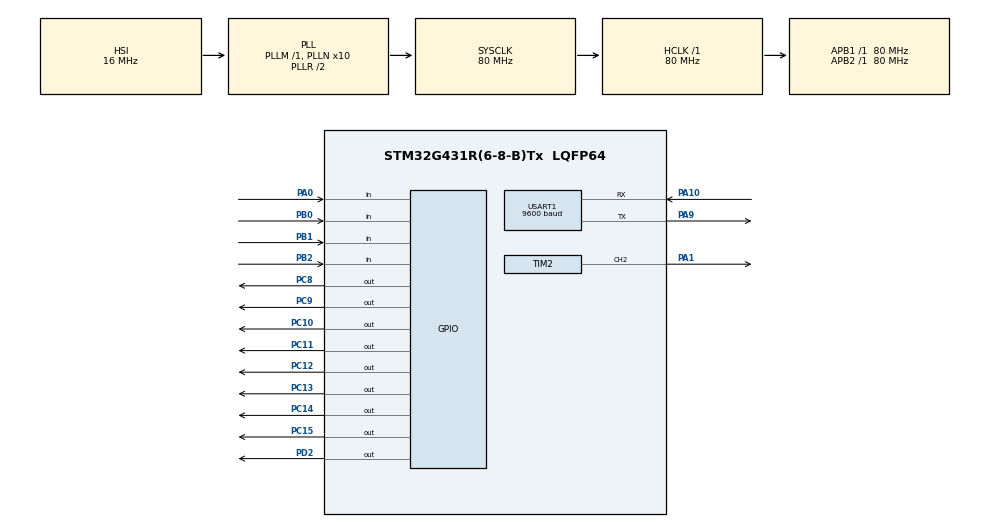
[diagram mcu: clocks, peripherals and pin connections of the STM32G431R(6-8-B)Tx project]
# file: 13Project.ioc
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Mcu.Family=STM32G4
Mcu.Name=STM32G431R(6-8-B)Tx
Mcu.Package=LQFP64
NVIC.PriorityGroup=NVIC_PRIORITYGROUP_2
NVIC.TIM4_IRQn=true\:0\:0\:false\:false\:true\:true\:true
NVIC.USART1_IRQn=true\:0\:0\:true\:false\:true\:true\:true
PA0.Signal=GPIO_Input
PA1.Signal=S_TIM2_CH2
PA10.Mode=Asynchronous
PA10.Signal=USART1_RX
PA13.Mode=Serial_Wire
PA13.Signal=SYS_JTMS-SWDIO
PA14.Mode=Serial_Wire
PA14.Signal=SYS_JTCK-SWCLK
PA9.Mode=Asynchronous
PA9.Signal=USART1_TX
PB0.Signal=GPIO_Input
PB1.Signal=GPIO_Input
PB2.Signal=GPIO_Input
PC10.Signal=GPIO_Output
PC11.Signal=GPIO_Output
PC12.Signal=GPIO_Output
PC13.Signal=GPIO_Output
PC14-OSC32_IN.Signal=GPIO_Output
PC15-OSC32_OUT.Signal=GPIO_Output
PC8.Signal=GPIO_Output
PC9.Signal=GPIO_Output
PD2.Signal=GPIO_Output
PF0-OSC_IN.Mode=HSE-External-Oscillator
PF0-OSC_IN.Signal=RCC_OSC_IN
PF1-OSC_OUT.Mode=HSE-External-Oscillator
PF1-OSC_OUT.Signal=RCC_OSC_OUT
ProjectManager.HeapSize=0x200
ProjectManager.StackSize=0x400
ProjectManager.TargetToolchain=MDK-ARM V5.32
RCC.ADC12Freq_Value=80000000
RCC.AHBFreq_Value=80000000
RCC.APB1Freq_Value=80000000
RCC.APB1TimFreq_Value=80000000
RCC.APB2Freq_Value=80000000
RCC.APB2TimFreq_Value=80000000
RCC.CortexFreq_Value=80000000
RCC.EXTERNAL_CLOCK_VALUE=12288000
RCC.HCLKFreq_Value=80000000
RCC.HSE_VALUE=24000000
RCC.HSI48_VALUE=48000000
RCC.HSI_VALUE=16000000
RCC.LSE_VALUE=32768
RCC.PLLN=10
RCC.SYSCLKFreq_VALUE=80000000
RCC.SYSCLKSource=RCC_SYSCLKSOURCE_PLLCLK
RCC.USBFreq_Value=80000000
RCC.VCOOutputFreq_Value=160000000
SH.S_TIM2_CH2.0=TIM2_CH2,PWM Generation2 CH2
TIM2.AutoReloadPreload=TIM_AUTORELOAD_PRELOAD_ENABLE
TIM2.Channel-PWM\ Generation2\ CH2=TIM_CHANNEL_2
TIM2.PeriodNoDither=499
TIM2.Prescaler=79
TIM2.PulseNoDither_2=25
TIM4.PeriodNoDither=10000
TIM4.Prescaler=79
USART1.BaudRate=9600
USART1.VirtualMode-Asynchronous=VM_ASYNC
VP_SYS_VS_DBSignals.Mode=DisableDeadBatterySignals
VP_TIM2_VS_ClockSourceINT.Mode=Internal
VP_TIM4_VS_ClockSourceINT.Mode=Internal
board=custom

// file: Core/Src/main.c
/* USER CODE BEGIN Header */
/**
  ******************************************************************************
  * @file           : main.c
  * @brief          : Main program body
  ******************************************************************************
  * @attention
  *
  * <h2><center>&copy; Copyright (c) 2023 STMicroelectronics.
  * All rights reserved.</center></h2>
  *
  * This software component is licensed by ST under BSD 3-Clause license,
  * the "License"; You may not use this file except in compliance with the
  * License. You may obtain a copy of the License at:
  *                        opensource.org/licenses/BSD-3-Clause
  *
  ******************************************************************************
  */
/* USER CODE END Header */
#include "main.h"
#include "tim.h"
#include "usart.h"
#include "gpio.h"

/* USER CODE BEGIN Includes */
#include "lcd.h"
#include "i2c_hal.h"
#include "stdio.h"
#include "string.h"

/* USER CODE END Includes */

/* USER CODE BEGIN PD */
#define KEY1 HAL_GPIO_ReadPin(GPIOB,GPIO_PIN_0)
#define KEY2 HAL_GPIO_ReadPin(GPIOB,GPIO_PIN_1)
#define KEY3 HAL_GPIO_ReadPin(GPIOB,GPIO_PIN_2)
#define KEY4 HAL_GPIO_ReadPin(GPIOA,GPIO_PIN_0)

/* USER CODE END PD */

/* USER CODE BEGIN PV */
//key
u8 key_val,key_down,key_up,key_old;

//lcd
u8 sta_lcd = 0;
u8 ptr[30];
u32 ee_xrep,ee_yrep,ee_xprice,ee_yprice;
//led
u8 led_in;
u8 led4, tt;
u8 x[3]={0,10,10};//定义商品X数组 并分别对应初始化为购买数量、10倍单价、库存数量
u8 y[3]={0,10,10};//定义商品Y数组 并分别对应初始化为购买数量、10倍单价、库存数量
u8 rx_data[20];
unsigned char tx[21],rx,rx_buf[7],dex, tx1[21], tx2[21];//串口相关变量
u8 cnt1 = 0, cnt3 = 0, time_ctl, kc = 0;
u16 cnt2 = 0;
u8 start1,start2, start3 = 0;

/* USER CODE END PV */

void SystemClock_Config(void);

/* USER CODE BEGIN 0 */
u8 key_scan()
{
	if((KEY1 == 0)||(KEY2 == 0)||(KEY3 == 0)||(KEY4 == 0))
	{
		HAL_Delay(10);
		if(KEY1 == 0) return 1;
		else if(KEY2 == 0) return 2;
		else if(KEY3 == 0) return 3;
		else if(KEY4 == 0) return 4;
	}return 0;
}

//从24C02中读取数据
uint8_t x24c02_read(uint8_t address)
{
	unsigned char val;

	I2CStart();
	I2CSendByte(0xa0);
	I2CWaitAck();

	I2CSendByte(address);
	I2CWaitAck();

	I2CStart();
	I2CSendByte(0xa1);
	I2CWaitAck();
	val = I2CReceiveByte();
	I2CWaitAck();
	I2CStop();

	return(val);
}

void x24c02_write(unsigned char address,unsigned char info)
{

	I2CStart();
	I2CSendByte(0xa0);
	I2CWaitAck();

	I2CSendByte(address);
	I2CWaitAck();
	I2CSendByte(info);
	I2CWaitAck();
	I2CStop();
	HAL_Delay(5);
}

void led_dis(u8 led)
{
	HAL_GPIO_WritePin(GPIOC,0xff00,GPIO_PIN_SET);
	HAL_GPIO_WritePin(GPIOD,GPIO_PIN_2,GPIO_PIN_SET);
	HAL_GPIO_WritePin(GPIOD,GPIO_PIN_2,GPIO_PIN_RESET);

	HAL_GPIO_WritePin(GPIOC,led<<8,GPIO_PIN_RESET);
	HAL_GPIO_WritePin(GPIOD,GPIO_PIN_2,GPIO_PIN_SET);
	HAL_GPIO_WritePin(GPIOD,GPIO_PIN_2,GPIO_PIN_RESET);
}

void key_Proc()
{
	key_val = key_scan();
	key_down = key_val&(key_val^key_old);
	key_up = ~key_val&(key_val^key_old);
	key_old = key_val;

	switch (key_up)
  {
  	case 1:
		{
			if(++ sta_lcd> 2)
				sta_lcd = 0;
			LCD_Clear(Black);
  		break;
		}
		case 2:
		{
			if(sta_lcd == 0)
			{
				if(++ x[0] > x[2])
					x[0] = 0;
			}else if(sta_lcd == 1)
			{
				if(++x[1]>20)
					x[1]=10;
				x24c02_write(0x01,x[1]);
			}else if(sta_lcd == 2)
			{
				x[2]++;
				x24c02_write(0x02,x[2]);
			}
  		break;
		}
		case 3:
		{
			if(sta_lcd == 0)
			{
				if(++ y[0] > y[2])
					y[0] = 0;
			}else if(sta_lcd == 1)
			{
				if(++y[1]>20)
					y[1]=10;
					x24c02_write(0x03,y[1]);

			}else if(sta_lcd == 2)
			{
					y[2]++;
					x24c02_write(0x04,y[2]);
			}
  		break;
		}
		case 4:
		{
			x[2]=x[2]-x[0];
			y[2]=y[2]-y[0];

			led4 = 1;
			time_ctl = 0;

			sprintf((char*)tx1,"X:%d,Y:%d,Z:%0.1f\n",x[0],y[0],0.1*x[0]*x[1]+0.1*y[0]*y[1]);
			HAL_UART_Transmit(&huart1,tx1,sizeof(tx1),50);

			if(x[0] != 0)
			{
				x24c02_write(0x02,x[2]);
			}
			if(y[0] != 0)
			{
				x24c02_write(0x04,y[2]);
			}

			x[0]=y[0]=0;
  		break;
		}
  }
}

void lcd_Proc()
{

	if(sta_lcd == 0)
	{
		sprintf((char*)ptr,"        SHOP");
		LCD_DisplayStringLine(Line2,(u8*)ptr);
		sprintf((char*)ptr,"     X:%d   ",x[0]);
		LCD_DisplayStringLine(Line4,ptr);
		sprintf((char*)ptr,"     Y:%d   ",y[0]);
		LCD_DisplayStringLine(Line5,ptr);

	}else if(sta_lcd == 1){
		sprintf((char*)ptr,"        PRICE");
		LCD_DisplayStringLine(Line2,(u8*)ptr);
		sprintf((char*)ptr,"     X:%.1f   ",0.1*x[1]);
		LCD_DisplayStringLine(Line4,ptr);
		sprintf((char*)ptr,"     Y:%.1f   ",0.1*y[1]);
		LCD_DisplayStringLine(Line5,ptr);

	}else if(sta_lcd == 2){
		sprintf((char*)ptr,"        REP");
		LCD_DisplayStringLine(Line2,(u8*)ptr);
		sprintf((char*)ptr,"     X:%d   ",x[2]);
		LCD_DisplayStringLine(Line4,ptr);
		sprintf((char*)ptr,"     Y:%d   ",y[2]);
		LCD_DisplayStringLine(Line5,ptr);

	}
}

void led_Proc()
{

	if((led4 == 1) && (sta_lcd == 0))
	{
		if(time_ctl == 0)
		{
			led_in |= 0x01; //点亮led1
				__HAL_TIM_SetCompare(&htim2,TIM_CHANNEL_2,150); //修改占空比为30% 本来为5%
		}else
		{
			led_in &= ~(0x01);
				__HAL_TIM_SetCompare(&htim2,TIM_CHANNEL_2,25); //修改占空比为30% 本来为5%
		}
	}

	if((x[2] == 0) && (y[2] == 0))
	{
		tt = 1;
		if(cnt3 == 0)
			led_in |= 0x02;
		else
			led_in &= ~(0x02);
	}else
	{
		led_in &= ~(0x02);
	}

	led_dis(led_in);
}

void HAL_TIM_PeriodElapsedCallback(TIM_HandleTypeDef *htim)
{
	if(htim == &htim4)
	{

		if(tt == 1)
		{
			cnt1 ++;
			if(cnt1 == 10)
			{
				cnt3 = ~cnt3;
				cnt1 = 0;
			}
		}
		if(time_ctl == 0)
		{
			cnt2 ++;
			if(cnt2 == 500)
			{
				cnt2 = 0;
				time_ctl = 1;
			}
		}
	}
}

void HAL_UART_RxCpltCallback(UART_HandleTypeDef *huart)
{
	if(huart == &huart1)
	{
			if(rx_data[0]=='?')
			{
				sprintf((char*)tx,"X:%3.1f,Y:%3.1f\n",0.1*x[1],0.1*y[1]);
				HAL_UART_Transmit(&huart1,tx,sizeof(tx),50);
			}
			else
			{
				sprintf((char*)tx2,"Query format error\n");
				HAL_UART_Transmit(&huart1,tx2,sizeof(tx2),50);
			}
	}
	HAL_UART_Receive_IT(&huart1,rx_data,1);
}

/* USER CODE END 0 */

int main(void)
{

  /* MCU Configuration--------------------------------------------------------*/

  /* Reset of all peripherals, Initializes the Flash interface and the Systick. */
  HAL_Init();

  /* Configure the system clock */
  SystemClock_Config();

  /* Initialize all configured peripherals */
  MX_GPIO_Init();
  MX_TIM2_Init();
  MX_USART1_UART_Init();
  MX_TIM4_Init();
  /* USER CODE BEGIN 2 */
	I2CInit();
	LCD_Init();
	LCD_Clear(Black);
	led_dis(0);
	LCD_SetBackColor(Black);
	LCD_SetTextColor(White);
	HAL_TIM_Base_Start_IT(&htim4);
	HAL_UART_Receive_IT(&huart1,rx_data,1);
	HAL_TIM_PWM_Start_IT(&htim2, TIM_CHANNEL_2);

	/*x24c02_write(0x01,0x00);
	x24c02_write(0x02,0x00);
	x24c02_write(0x03,0x00);
	x24c02_write(0x04,0x00);
	x24c02_write(0x05,0x00);
	x24c02_write(0x06,0x00);
	x24c02_write(0x07,0x00);*/

	start1 = x24c02_read(0x00);
	x24c02_write(0x00, 0x28);

	if(start1 == 0x28)
	{
		x[1] = x24c02_read(0x01);
		x[2] = x24c02_read(0x02);
		y[1] = x24c02_read(0x03);
		y[2] = x24c02_read(0x04);
	}else
	{
		x24c02_write(0x01,(x[1]));
		x24c02_write(0x02,(x[2]));
		x24c02_write(0x03,(y[1]));
		x24c02_write(0x04,(y[2]));
	}

  /* USER CODE END 2 */

  /* Infinite loop */
  while (1)
  {

    /* USER CODE BEGIN 3 */

		key_Proc();
		lcd_Proc();
		led_Proc();
  }
  /* USER CODE END 3 */
}

void SystemClock_Config(void)
{
  RCC_OscInitTypeDef RCC_OscInitStruct = {0};
  RCC_ClkInitTypeDef RCC_ClkInitStruct = {0};
  RCC_PeriphCLKInitTypeDef PeriphClkInit = {0};

  /** Configure the main internal regulator output voltage
  */
  HAL_PWREx_ControlVoltageScaling(PWR_REGULATOR_VOLTAGE_SCALE1);
  /** Initializes the RCC Oscillators according to the specified parameters
  * in the RCC_OscInitTypeDef structure.
  */
  RCC_OscInitStruct.OscillatorType = RCC_OSCILLATORTYPE_HSI;
  RCC_OscInitStruct.HSIState = RCC_HSI_ON;
  RCC_OscInitStruct.HSICalibrationValue = RCC_HSICALIBRATION_DEFAULT;
  RCC_OscInitStruct.PLL.PLLState = RCC_PLL_ON;
  RCC_OscInitStruct.PLL.PLLSource = RCC_PLLSOURCE_HSI;
  RCC_OscInitStruct.PLL.PLLM = RCC_PLLM_DIV1;
  RCC_OscInitStruct.PLL.PLLN = 10;
  RCC_OscInitStruct.PLL.PLLP = RCC_PLLP_DIV2;
  RCC_OscInitStruct.PLL.PLLQ = RCC_PLLQ_DIV2;
  RCC_OscInitStruct.PLL.PLLR = RCC_PLLR_DIV2;
  if (HAL_RCC_OscConfig(&RCC_OscInitStruct) != HAL_OK)
  {
    Error_Handler();
  }
  /** Initializes the CPU, AHB and APB buses clocks
  */
  RCC_ClkInitStruct.ClockType = RCC_CLOCKTYPE_HCLK|RCC_CLOCKTYPE_SYSCLK
                              |RCC_CLOCKTYPE_PCLK1|RCC_CLOCKTYPE_PCLK2;
  RCC_ClkInitStruct.SYSCLKSource = RCC_SYSCLKSOURCE_PLLCLK;
  RCC_ClkInitStruct.AHBCLKDivider = RCC_SYSCLK_DIV1;
  RCC_ClkInitStruct.APB1CLKDivider = RCC_HCLK_DIV1;
  RCC_ClkInitStruct.APB2CLKDivider = RCC_HCLK_DIV1;

  if (HAL_RCC_ClockConfig(&RCC_ClkInitStruct, FLASH_LATENCY_2) != HAL_OK)
  {
    Error_Handler();
  }
  /** Initializes the peripherals clocks
  */
  PeriphClkInit.PeriphClockSelection = RCC_PERIPHCLK_USART1;
  PeriphClkInit.Usart1ClockSelection = RCC_USART1CLKSOURCE_PCLK2;
  if (HAL_RCCEx_PeriphCLKConfig(&PeriphClkInit) != HAL_OK)
  {
    Error_Handler();
  }
}

void Error_Handler(void)
{
  __disable_irq();
  while (1)
  {
  }
}

/************************ (C) COPYRIGHT STMicroelectronics *****END OF FILE****/
